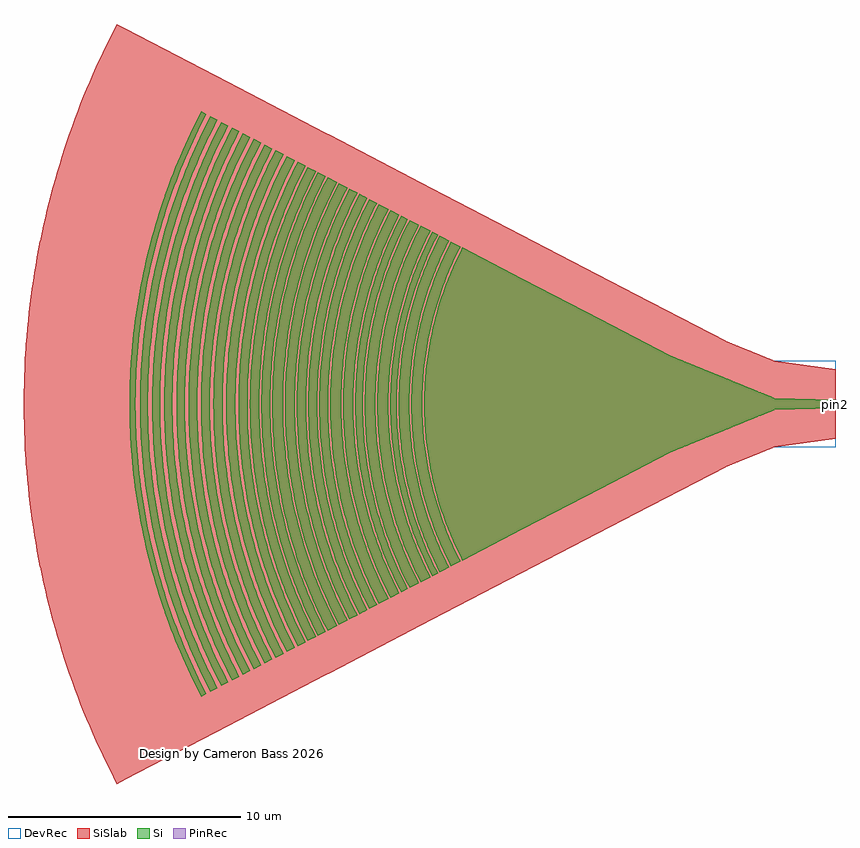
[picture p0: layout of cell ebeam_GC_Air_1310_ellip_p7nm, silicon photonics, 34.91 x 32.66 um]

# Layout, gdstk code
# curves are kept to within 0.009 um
import gdstk
lib = gdstk.Library(unit=1e-6, precision=1e-09)
def P(c, l, *ps):  # polygons
    for p in ps: c.add(gdstk.Polygon(p, *l))
Si = (1, 0)
PinRec = (1, 10)
SiSlab = (2, 0)
DevRec = (68, 0)

ebeam_gc_air_1310_ellip_ = lib.new_cell('ebeam_GC_Air_1310_ellip_p7nm')
P(ebeam_gc_air_1310_ellip_, Si, [(-16.051,-6.725),(-16.416,-5.972),(-16.791,-5.055),(-17.02,-4.386),(-17.285,-3.433),(-17.461,-2.602),(-17.588,-1.764),(-17.666,-0.918),(-17.694,-0.071),(-17.666,0.918),(-17.588,1.764),(-17.461,2.603),(-17.285,3.433),(-17.02,4.386),(-16.791,5.055),(-16.416,5.972),(-16.051,6.725),(-7.089,2.063),(-3.182,0.47),(-2.89,0.363),(-2.675,0.264),(0,0.175),(0,-0.175),(-2.675,-0.264),(-2.858,-0.35),(-3.197,-0.476),(-7.12,-2.076)],
  [(-16.543,-6.98),(-16.919,-6.202),(-17.257,-5.387),(-17.546,-4.555),(-17.786,-3.708),(-17.977,-2.847),(-18.117,-1.977),(-18.216,-0.954),(-18.246,-0.073),(-18.225,0.807),(-18.135,1.832),(-18.004,2.703),(-17.821,3.565),(-17.712,3.992),(-17.546,4.555),(-17.257,5.387),(-16.919,6.202),(-16.543,6.981),(-16.128,6.765),(-16.495,6.007),(-16.821,5.218),(-17.101,4.413),(-17.334,3.591),(-17.545,2.619),(-17.673,1.774),(-17.76,0.783),(-17.78,0.071),(-17.76,-0.783),(-17.673,-1.774),(-17.545,-2.618),(-17.368,-3.453),(-17.143,-4.277),(-16.871,-5.086),(-16.495,-6.007),(-16.128,-6.765)],
  [(-17.024,-7.231),(-17.413,-6.426),(-17.763,-5.582),(-18.062,-4.72),(-18.311,-3.842),(-18.508,-2.95),(-18.653,-2.049),(-18.746,-1.141),(-18.773,-0.684),(-18.787,-0.076),(-18.765,0.836),(-18.69,1.747),(-18.633,2.2),(-18.536,2.8),(-18.347,3.694),(-18.193,4.283),(-18.062,4.72),(-17.763,5.582),(-17.413,6.426),(-17.024,7.231),(-16.619,7.021),(-16.875,6.506),(-17.058,6.102),(-17.388,5.281),(-17.671,4.44),(-17.905,3.585),(-18.088,2.719),(-18.221,1.842),(-18.302,0.96),(-18.332,0.074),(-18.311,-0.812),(-18.221,-1.842),(-18.088,-2.719),(-17.905,-3.585),(-17.671,-4.44),(-17.388,-5.281),(-17.058,-6.102),(-16.875,-6.506),(-16.619,-7.021)],
  [(-17.344,-7.398),(-17.742,-6.574),(-18.1,-5.712),(-18.406,-4.829),(-18.661,-3.931),(-18.863,-3.018),(-18.944,-2.558),(-19.031,-1.942),(-19.117,-1.011),(-19.148,-0.078),(-19.126,0.856),(-19.031,1.942),(-18.891,2.865),(-18.698,3.78),(-18.452,4.68),(-18.155,5.565),(-17.742,6.575),(-17.344,7.398),(-17.101,7.271),(-17.554,6.321),(-17.788,5.756),(-17.948,5.327),(-18.097,4.892),(-18.275,4.306),(-18.394,3.863),(-18.532,3.267),(-18.696,2.363),(-18.792,1.604),(-18.851,0.842),(-18.873,0.077),(-18.858,-0.689),(-18.807,-1.451),(-18.696,-2.363),(-18.563,-3.117),(-18.466,-3.565),(-18.316,-4.158),(-18.189,-4.6),(-17.999,-5.182),(-17.787,-5.755),(-17.554,-6.321),(-17.101,-7.271)],
  [(-17.84,-7.656),(-18.316,-6.657),(-18.678,-5.76),(-18.986,-4.844),(-19.24,-3.912),(-19.44,-2.965),(-19.584,-2.01),(-19.673,-1.046),(-19.706,-0.08),(-19.682,0.886),(-19.603,1.85),(-19.468,2.807),(-19.347,3.44),(-19.24,3.912),(-18.986,4.844),(-18.678,5.76),(-18.251,6.805),(-17.84,7.656),(-17.421,7.438),(-17.885,6.467),(-18.179,5.742),(-18.488,4.855),(-18.744,3.952),(-18.976,2.881),(-19.116,1.952),(-19.18,1.329),(-19.212,0.861),(-19.234,0.078),(-19.212,-0.861),(-19.18,-1.329),(-19.116,-1.952),(-18.976,-2.881),(-18.781,-3.799),(-18.534,-4.706),(-18.234,-5.596),(-17.885,-6.467),(-17.421,-7.438)],
  [(-18.32,-7.906),(-18.745,-7.026),(-19.127,-6.104),(-19.298,-5.635),(-19.504,-5.002),(-19.766,-4.039),(-19.972,-3.062),(-20.122,-2.075),(-20.213,-1.081),(-20.247,-0.083),(-20.223,0.915),(-20.141,1.91),(-20.029,2.734),(-19.942,3.226),(-19.805,3.878),(-19.642,4.523),(-19.504,5.002),(-19.185,5.948),(-19.005,6.414),(-18.745,7.027),(-18.32,7.906),(-17.918,7.697),(-18.332,6.84),(-18.524,6.394),(-18.759,5.791),(-19.069,4.87),(-19.325,3.932),(-19.526,2.981),(-19.671,2.02),(-19.761,1.053),(-19.794,0.081),(-19.77,-0.891),(-19.69,-1.859),(-19.606,-2.502),(-19.526,-2.981),(-19.325,-3.931),(-19.069,-4.869),(-18.759,-5.791),(-18.524,-6.393),(-18.332,-6.84),(-17.918,-7.697)],
  [(-18.682,-8.094),(-19.117,-7.193),(-19.509,-6.248),(-19.844,-5.283),(-20.036,-4.63),(-20.163,-4.135),(-20.374,-3.135),(-20.527,-2.124),(-20.621,-1.106),(-20.655,-0.085),(-20.631,0.936),(-20.547,1.956),(-20.404,2.967),(-20.276,3.636),(-20.163,4.135),(-20.036,4.63),(-19.844,5.283),(-19.509,6.248),(-19.117,7.193),(-18.682,8.094),(-18.397,7.947),(-18.685,7.366),(-18.959,6.755),(-19.148,6.291),(-19.379,5.664),(-19.537,5.187),(-19.725,4.545),(-19.889,3.896),(-19.995,3.407),(-20.14,2.583),(-20.245,1.753),(-20.31,0.92),(-20.334,0.084),(-20.31,-0.92),(-20.245,-1.753),(-20.14,-2.583),(-19.995,-3.407),(-19.889,-3.896),(-19.725,-4.545),(-19.537,-5.187),(-19.379,-5.664),(-18.959,-6.755),(-18.685,-7.366),(-18.397,-7.946)],
  [(-19.14,-8.333),(-19.588,-7.406),(-19.863,-6.76),(-20.053,-6.269),(-20.388,-5.272),(-20.665,-4.257),(-20.882,-3.227),(-21.04,-2.187),(-21.136,-1.139),(-21.172,-0.088),(-21.162,0.614),(-21.136,1.139),(-21.04,2.187),(-20.882,3.227),(-20.665,4.257),(-20.388,5.272),(-20.053,6.269),(-19.659,7.246),(-19.442,7.724),(-19.14,8.333),(-18.76,8.135),(-19.198,7.229),(-19.466,6.598),(-19.649,6.12),(-19.977,5.146),(-20.248,4.155),(-20.46,3.151),(-20.614,2.135),(-20.708,1.113),(-20.743,0.086),(-20.718,-0.942),(-20.634,-1.965),(-20.49,-2.982),(-20.396,-3.487),(-20.248,-4.155),(-19.977,-5.146),(-19.649,-6.12),(-19.267,-7.072),(-19.055,-7.54),(-18.76,-8.135)],
  [(-19.639,-8.593),(-20.099,-7.639),(-20.515,-6.636),(-20.87,-5.611),(-21.166,-4.567),(-21.4,-3.507),(-21.573,-2.436),(-21.683,-1.356),(-21.714,-0.814),(-21.732,-0.09),(-21.706,0.994),(-21.616,2.077),(-21.465,3.151),(-21.329,3.861),(-21.209,4.392),(-20.924,5.438),(-20.7,6.126),(-20.515,6.636),(-20.099,7.639),(-19.639,8.593),(-19.218,8.374),(-19.521,7.762),(-19.74,7.28),(-20.072,6.464),(-20.252,5.968),(-20.471,5.298),(-20.707,4.448),(-20.935,3.417),(-21.104,2.373),(-21.182,1.672),(-21.223,1.145),(-21.259,0.088),(-21.254,-0.441),(-21.223,-1.145),(-21.126,-2.197),(-20.968,-3.243),(-20.749,-4.277),(-20.471,-5.297),(-20.252,-5.968),(-20.072,-6.464),(-19.74,-7.28),(-19.521,-7.761),(-19.218,-8.374)],
  [(-20.054,-8.809),(-20.527,-7.829),(-20.953,-6.801),(-21.318,-5.75),(-21.621,-4.68),(-21.861,-3.594),(-22.038,-2.496),(-22.151,-1.39),(-22.183,-0.834),(-22.201,-0.093),(-22.174,1.019),(-22.083,2.128),(-22.013,2.68),(-21.895,3.412),(-21.665,4.501),(-21.477,5.218),(-21.318,5.75),(-20.953,6.801),(-20.527,7.829),(-20.054,8.809),(-19.72,8.635),(-20.183,7.675),(-20.599,6.668),(-20.957,5.638),(-21.254,4.588),(-21.49,3.524),(-21.584,2.987),(-21.686,2.267),(-21.786,1.181),(-21.823,0.091),(-21.813,-0.636),(-21.744,-1.724),(-21.639,-2.627),(-21.455,-3.702),(-21.339,-4.234),(-21.162,-4.94),(-20.957,-5.637),(-20.725,-6.327),(-20.468,-7.005),(-20.257,-7.508),(-19.953,-8.169),(-19.72,-8.635)],
  [(-20.474,-9.028),(-20.96,-8.022),(-21.397,-6.968),(-21.77,-5.892),(-22.081,-4.796),(-22.212,-4.241),(-22.362,-3.496),(-22.532,-2.369),(-22.637,-1.234),(-22.676,-0.095),(-22.648,1.044),(-22.554,2.181),(-22.395,3.309),(-22.291,3.869),(-22.126,4.612),(-21.934,5.346),(-21.77,5.892),(-21.397,6.968),(-20.96,8.022),(-20.474,9.028),(-20.132,8.85),(-20.608,7.864),(-21.034,6.832),(-21.4,5.777),(-21.61,5.062),(-21.75,4.52),(-21.981,3.428),(-22.148,2.323),(-22.25,1.21),(-22.278,0.652),(-22.288,0.093),(-22.27,-0.838),(-22.207,-1.767),(-22.099,-2.692),(-21.911,-3.794),(-21.793,-4.339),(-21.61,-5.062),(-21.4,-5.777),(-21.225,-6.307),(-21.034,-6.831),(-20.757,-7.523),(-20.452,-8.203),(-20.132,-8.85)],
  [(-20.909,-9.254),(-21.408,-8.22),(-21.855,-7.142),(-22.238,-6.038),(-22.557,-4.915),(-22.691,-4.346),(-22.845,-3.582),(-23.02,-2.428),(-23.127,-1.264),(-23.166,-0.097),(-23.161,0.487),(-23.127,1.264),(-23.02,2.428),(-22.845,3.583),(-22.603,4.726),(-22.296,5.852),(-21.924,6.959),(-21.487,8.043),(-21.161,8.75),(-20.909,9.254),(-20.556,9.07),(-20.886,8.404),(-21.122,7.883),(-21.344,7.355),(-21.549,6.821),(-21.914,5.736),(-22.216,4.631),(-22.453,3.512),(-22.624,2.38),(-22.729,1.24),(-22.768,0.096),(-22.749,-0.859),(-22.685,-1.81),(-22.574,-2.758),(-22.381,-3.887),(-22.216,-4.631),(-22.073,-5.186),(-21.858,-5.918),(-21.678,-6.462),(-21.482,-6.999),(-21.198,-7.707),(-20.886,-8.404),(-20.556,-9.07)],
  [(-21.36,-9.489),(-21.705,-8.793),(-21.952,-8.247),(-22.4,-7.136),(-22.782,-6.001),(-23.097,-4.846),(-23.345,-3.674),(-23.524,-2.49),(-23.634,-1.296),(-23.674,-0.1),(-23.669,0.499),(-23.634,1.297),(-23.524,2.49),(-23.345,3.674),(-23.097,4.846),(-22.782,6.001),(-22.4,7.136),(-21.952,8.248),(-21.705,8.793),(-21.36,9.489),(-20.986,9.294),(-21.488,8.256),(-21.936,7.172),(-22.321,6.064),(-22.489,5.502),(-22.687,4.745),(-22.93,3.598),(-23.106,2.438),(-23.213,1.271),(-23.242,0.685),(-23.253,0.098),(-23.248,-0.489),(-23.225,-1.075),(-23.168,-1.855),(-23.106,-2.438),(-22.93,-3.598),(-22.687,-4.745),(-22.489,-5.502),(-22.321,-6.064),(-21.936,-7.171),(-21.488,-8.256),(-20.986,-9.294)],
  [(-21.848,-9.742),(-22.287,-8.844),(-22.769,-7.713),(-23.052,-6.943),(-23.246,-6.359),(-23.581,-5.176),(-23.766,-4.376),(-23.884,-3.773),(-23.985,-3.166),(-24.068,-2.557),(-24.181,-1.331),(-24.211,-0.717),(-24.222,-0.102),(-24.193,1.127),(-24.092,2.354),(-23.985,3.166),(-23.884,3.773),(-23.766,4.376),(-23.63,4.977),(-23.477,5.573),(-23.306,6.163),(-23.119,6.749),(-22.914,7.329),(-22.615,8.093),(-22.371,8.658),(-21.848,9.743),(-21.437,9.529),(-21.784,8.83),(-22.032,8.282),(-22.481,7.167),(-22.805,6.218),(-23.133,5.061),(-23.272,4.475),(-23.393,3.887),(-23.585,2.699),(-23.707,1.502),(-23.742,0.902),(-23.761,0.1),(-23.732,-1.103),(-23.674,-1.902),(-23.61,-2.5),(-23.43,-3.69),(-23.181,-4.866),(-22.864,-6.027),(-22.481,-7.167),(-22.032,-8.282),(-21.784,-8.83),(-21.437,-9.529)],
  [(-22.262,-9.958),(-22.797,-8.848),(-23.279,-7.686),(-23.493,-7.096),(-23.753,-6.299),(-24.084,-5.087),(-24.343,-3.856),(-24.446,-3.236),(-24.531,-2.613),(-24.598,-1.988),(-24.647,-1.361),(-24.689,-0.105),(-24.683,0.524),(-24.659,1.152),(-24.556,2.405),(-24.477,3.029),(-24.38,3.65),(-24.265,4.268),(-24.084,5.087),(-23.753,6.299),(-23.561,6.898),(-23.279,7.686),(-23.046,8.272),(-22.797,8.849),(-22.262,9.958),(-21.925,9.783),(-22.279,9.067),(-22.534,8.505),(-22.773,7.935),(-23.065,7.166),(-23.265,6.582),(-23.504,5.794),(-23.664,5.197),(-23.85,4.395),(-23.969,3.789),(-24.07,3.179),(-24.199,2.158),(-24.279,1.132),(-24.309,0.103),(-24.303,-0.515),(-24.279,-1.132),(-24.199,-2.158),(-24.07,-3.179),(-23.969,-3.789),(-23.85,-4.395),(-23.664,-5.197),(-23.504,-5.793),(-23.265,-6.581),(-23.065,-7.166),(-22.773,-7.935),(-22.534,-8.504),(-22.279,-9.067),(-21.925,-9.783)],
  [(-22.696,-10.184),(-22.974,-9.63),(-23.245,-9.047),(-23.5,-8.457),(-23.738,-7.859),(-23.957,-7.255),(-24.159,-6.645),(-24.401,-5.823),(-24.561,-5.201),(-24.703,-4.573),(-24.826,-3.943),(-24.932,-3.309),(-25.019,-2.672),(-25.087,-2.033),(-25.137,-1.391),(-25.168,-0.75),(-25.18,-0.107),(-25.174,0.536),(-25.149,1.178),(-25.106,1.82),(-25.044,2.459),(-24.963,3.097),(-24.864,3.732),(-24.703,4.573),(-24.561,5.201),(-24.401,5.823),(-24.222,6.441),(-24.026,7.053),(-23.813,7.659),(-23.581,8.259),(-23.332,8.852),(-22.974,9.63),(-22.696,10.184),(-22.342,10),(-22.705,9.267),(-22.966,8.692),(-23.21,8.11),(-23.508,7.324),(-23.777,6.526),(-23.957,5.921),(-24.121,5.311),(-24.311,4.492),(-24.503,3.458),(-24.646,2.415),(-24.737,1.367),(-24.768,0.737),(-24.78,0.105),(-24.76,-0.947),(-24.723,-1.577),(-24.668,-2.205),(-24.536,-3.249),(-24.353,-4.286),(-24.22,-4.902),(-24.014,-5.718),(-23.777,-6.526),(-23.508,-7.324),(-23.287,-7.914),(-22.966,-8.692),(-22.705,-9.267),(-22.342,-10)],
  [(-23.128,-10.409),(-23.415,-9.837),(-23.692,-9.242),(-24.196,-8.028),(-24.42,-7.411),(-24.627,-6.788),(-24.815,-6.159),(-24.985,-5.525),(-25.136,-4.887),(-25.269,-4.243),(-25.383,-3.596),(-25.478,-2.947),(-25.554,-2.295),(-25.626,-1.421),(-25.658,-0.766),(-25.67,-0.109),(-25.664,0.547),(-25.639,1.203),(-25.594,1.859),(-25.531,2.512),(-25.448,3.164),(-25.309,4.028),(-25.182,4.672),(-25.037,5.313),(-24.873,5.949),(-24.691,6.579),(-24.491,7.205),(-24.273,7.824),(-23.781,9.042),(-23.51,9.64),(-23.128,10.409),(-22.79,10.234),(-23.163,9.479),(-23.516,8.694),(-23.76,8.096),(-23.985,7.492),(-24.26,6.676),(-24.445,6.057),(-24.664,5.224),(-24.807,4.595),(-25.004,3.537),(-25.097,2.898),(-25.172,2.256),(-25.255,1.184),(-25.287,0.108),(-25.266,-0.969),(-25.228,-1.613),(-25.172,-2.256),(-25.004,-3.537),(-24.807,-4.595),(-24.664,-5.224),(-24.445,-6.057),(-24.26,-6.676),(-23.985,-7.492),(-23.76,-8.096),(-23.43,-8.891),(-23.163,-9.479),(-22.79,-10.233)],
  [(-23.597,-10.654),(-23.894,-10.062),(-24.178,-9.454),(-24.444,-8.837),(-24.693,-8.213),(-24.923,-7.581),(-25.134,-6.944),(-25.327,-6.3),(-25.501,-5.652),(-25.656,-4.998),(-25.791,-4.34),(-25.943,-3.457),(-26.034,-2.792),(-26.105,-2.124),(-26.157,-1.454),(-26.19,-0.783),(-26.203,-0.112),(-26.196,0.56),(-26.17,1.231),(-26.125,1.902),(-26.06,2.57),(-25.975,3.236),(-25.871,3.9),(-25.703,4.779),(-25.554,5.435),(-25.387,6.085),(-25.2,6.73),(-24.995,7.37),(-24.772,8.003),(-24.529,8.63),(-24.269,9.249),(-23.991,9.861),(-23.597,10.654),(-23.248,10.472),(-23.538,9.894),(-23.906,9.094),(-24.162,8.485),(-24.474,7.663),(-24.688,7.038),(-24.945,6.195),(-25.169,5.343),(-25.315,4.7),(-25.517,3.617),(-25.666,2.526),(-25.729,1.869),(-25.774,1.211),(-25.806,0.11),(-25.785,-0.991),(-25.747,-1.649),(-25.689,-2.307),(-25.551,-3.4),(-25.442,-4.051),(-25.315,-4.7),(-25.169,-5.343),(-24.945,-6.195),(-24.688,-7.037),(-24.474,-7.662),(-24.162,-8.485),(-23.906,-9.094),(-23.538,-9.894),(-23.248,-10.472)],
  [(-24.08,-10.905),(-24.387,-10.294),(-24.677,-9.671),(-24.95,-9.04),(-25.205,-8.401),(-25.44,-7.756),(-25.724,-6.885),(-25.915,-6.225),(-26.086,-5.56),(-26.238,-4.889),(-26.371,-4.215),(-26.484,-3.537),(-26.577,-2.856),(-26.65,-2.173),(-26.703,-1.487),(-26.737,-0.801),(-26.75,-0.114),(-26.743,0.573),(-26.717,1.259),(-26.67,1.945),(-26.577,2.857),(-26.484,3.537),(-26.371,4.215),(-26.238,4.889),(-26.086,5.56),(-25.915,6.225),(-25.724,6.885),(-25.44,7.756),(-25.205,8.401),(-24.95,9.041),(-24.677,9.671),(-24.387,10.294),(-24.08,10.905),(-23.736,10.726),(-24.133,9.925),(-24.413,9.309),(-24.759,8.476),(-24.995,7.844),(-25.283,6.989),(-25.477,6.341),(-25.707,5.469),(-25.856,4.811),(-26.063,3.703),(-26.216,2.586),(-26.314,1.464),(-26.347,0.789),(-26.36,0.113),(-26.338,-1.014),(-26.298,-1.689),(-26.24,-2.362),(-26.098,-3.48),(-25.902,-4.59),(-25.759,-5.25),(-25.538,-6.124),(-25.283,-6.989),(-24.995,-7.844),(-24.759,-8.476),(-24.413,-9.309),(-24.036,-10.128),(-23.736,-10.726)],
  [(-24.55,-11.15),(-24.866,-10.522),(-25.163,-9.885),(-25.442,-9.24),(-25.702,-8.588),(-25.943,-7.927),(-26.164,-7.261),(-26.428,-6.363),(-26.604,-5.683),(-26.759,-4.997),(-26.895,-4.308),(-27.01,-3.615),(-27.105,-2.92),(-27.18,-2.221),(-27.235,-1.52),(-27.269,-0.819),(-27.282,-0.117),(-27.269,0.819),(-27.235,1.521),(-27.18,2.222),(-27.105,2.92),(-27.01,3.615),(-26.895,4.308),(-26.759,4.997),(-26.604,5.683),(-26.428,6.363),(-26.164,7.261),(-25.943,7.927),(-25.702,8.587),(-25.442,9.241),(-25.163,9.885),(-24.866,10.522),(-24.55,11.15),(-24.217,10.977),(-24.627,10.152),(-24.914,9.522),(-25.182,8.884),(-25.509,8.023),(-25.804,7.149),(-26.002,6.487),(-26.182,5.818),(-26.39,4.921),(-26.602,3.788),(-26.758,2.645),(-26.859,1.498),(-26.892,0.807),(-26.905,0.115),(-26.899,-0.576),(-26.872,-1.268),(-26.782,-2.416),(-26.702,-3.103),(-26.602,-3.788),(-26.39,-4.921),(-26.182,-5.818),(-26.002,-6.486),(-25.804,-7.149),(-25.509,-8.023),(-25.182,-8.884),(-24.914,-9.522),(-24.627,-10.152),(-24.217,-10.977)],
  [(-25.023,-11.396),(-25.347,-10.752),(-25.651,-10.102),(-25.935,-9.443),(-26.202,-8.776),(-26.447,-8.101),(-26.673,-7.42),(-26.88,-6.732),(-27.066,-6.039),(-27.231,-5.341),(-27.377,-4.637),(-27.501,-3.931),(-27.606,-3.221),(-27.689,-2.508),(-27.752,-1.793),(-27.803,-0.837),(-27.817,-0.12),(-27.81,0.598),(-27.782,1.315),(-27.733,2.032),(-27.664,2.746),(-27.573,3.458),(-27.421,4.402),(-27.282,5.107),(-27.123,5.807),(-26.944,6.502),(-26.744,7.192),(-26.525,7.875),(-26.202,8.776),(-25.935,9.443),(-25.651,10.102),(-25.347,10.752),(-25.023,11.396),(-24.697,11.227),(-25.016,10.593),(-25.411,9.736),(-25.685,9.084),(-26.02,8.204),(-26.249,7.535),(-26.524,6.633),(-26.708,5.949),(-26.921,5.032),(-27.137,3.873),(-27.297,2.705),(-27.366,2.001),(-27.414,1.296),(-27.448,0.118),(-27.441,-0.589),(-27.414,-1.296),(-27.322,-2.47),(-27.174,-3.64),(-27.058,-4.338),(-26.921,-5.032),(-26.708,-5.949),(-26.524,-6.632),(-26.249,-7.535),(-26.02,-8.204),(-25.684,-9.084),(-25.411,-9.736),(-25.016,-10.593),(-24.697,-11.226)],
  [(-25.485,-11.636),(-25.816,-10.978),(-26.126,-10.314),(-26.416,-9.641),(-26.688,-8.96),(-26.939,-8.271),(-27.17,-7.576),(-27.381,-6.874),(-27.571,-6.166),(-27.792,-5.214),(-27.933,-4.495),(-28.054,-3.772),(-28.153,-3.046),(-28.231,-2.318),(-28.288,-1.586),(-28.323,-0.855),(-28.338,-0.122),(-28.323,0.855),(-28.288,1.586),(-28.231,2.318),(-28.153,3.046),(-28.054,3.772),(-27.933,4.495),(-27.792,5.214),(-27.629,5.929),(-27.446,6.639),(-27.243,7.342),(-27.019,8.04),(-26.688,8.96),(-26.416,9.641),(-26.126,10.314),(-25.816,10.978),(-25.485,11.636),(-25.171,11.473),(-25.602,10.607),(-25.901,9.949),(-26.27,9.06),(-26.524,8.383),(-26.832,7.47),(-27.039,6.778),(-27.285,5.846),(-27.445,5.142),(-27.666,3.958),(-27.771,3.242),(-27.855,2.525),(-27.948,1.325),(-27.983,0.121),(-27.96,-1.084),(-27.918,-1.804),(-27.855,-2.524),(-27.771,-3.242),(-27.666,-3.957),(-27.445,-5.141),(-27.227,-6.079),(-27.039,-6.777),(-26.832,-7.47),(-26.524,-8.383),(-26.27,-9.06),(-25.901,-9.949),(-25.602,-10.607),(-25.171,-11.473)],
  [(-25.95,-11.878),(-26.288,-11.206),(-26.605,-10.528),(-26.901,-9.842),(-27.179,-9.146),(-27.435,-8.443),(-27.671,-7.733),(-27.886,-7.017),(-28.08,-6.294),(-28.252,-5.567),(-28.45,-4.588),(-28.572,-3.85),(-28.674,-3.109),(-28.754,-2.366),(-28.812,-1.619),(-28.848,-0.872),(-28.862,-0.125),(-28.848,0.872),(-28.812,1.619),(-28.754,2.366),(-28.674,3.11),(-28.572,3.851),(-28.45,4.588),(-28.305,5.322),(-28.139,6.052),(-27.953,6.777),(-27.745,7.495),(-27.516,8.207),(-27.267,8.912),(-26.996,9.611),(-26.605,10.528),(-26.288,11.206),(-25.95,11.879),(-25.641,11.718),(-25.975,11.055),(-26.387,10.161),(-26.673,9.48),(-27.023,8.561),(-27.262,7.863),(-27.55,6.922),(-27.741,6.209),(-27.964,5.25),(-28.189,4.042),(-28.356,2.823),(-28.428,2.088),(-28.478,1.353),(-28.514,0.123),(-28.506,-0.615),(-28.478,-1.353),(-28.382,-2.578),(-28.296,-3.311),(-28.189,-4.041),(-27.964,-5.25),(-27.8,-5.97),(-27.55,-6.921),(-27.262,-7.863),(-27.023,-8.561),(-26.672,-9.48),(-26.387,-10.16),(-25.975,-11.054),(-25.641,-11.718)],
  [(-26.409,-12.117),(-26.754,-11.431),(-27.077,-10.74),(-27.379,-10.039),(-27.662,-9.33),(-27.924,-8.612),(-28.164,-7.888),(-28.383,-7.157),(-28.581,-6.421),(-28.757,-5.678),(-28.959,-4.68),(-29.084,-3.928),(-29.187,-3.172),(-29.269,-2.413),(-29.328,-1.652),(-29.365,-0.89),(-29.38,-0.127),(-29.372,0.636),(-29.343,1.398),(-29.291,2.16),(-29.217,2.92),(-29.121,3.676),(-28.959,4.68),(-28.811,5.429),(-28.642,6.174),(-28.452,6.913),(-28.24,7.646),(-28.006,8.372),(-27.752,9.091),(-27.476,9.804),(-27.077,10.74),(-26.754,11.431),(-26.409,12.117),(-26.11,11.962),(-26.451,11.285),(-26.77,10.602),(-27.069,9.91),(-27.435,8.976),(-27.686,8.265),(-27.989,7.307),(-28.254,6.338),(-28.428,5.605),(-28.581,4.868),(-28.712,4.126),(-28.882,2.882),(-28.992,1.632),(-29.028,0.879),(-29.043,0.126),(-29.035,-0.628),(-29.006,-1.381),(-28.909,-2.632),(-28.821,-3.38),(-28.712,-4.126),(-28.481,-5.36),(-28.254,-6.338),(-28.059,-7.065),(-27.842,-7.787),(-27.521,-8.739),(-27.256,-9.444),(-26.872,-10.372),(-26.56,-11.058),(-26.11,-11.962)],
  [(-26.879,-12.362),(-27.223,-11.676),(-27.553,-10.97),(-27.862,-10.255),(-28.242,-9.286),(-28.501,-8.552),(-28.739,-7.81),(-28.955,-7.061),(-29.15,-6.306),(-29.322,-5.545),(-29.472,-4.781),(-29.6,-4.012),(-29.706,-3.24),(-29.788,-2.465),(-29.849,-1.687),(-29.887,-0.909),(-29.902,-0.13),(-29.887,0.909),(-29.849,1.687),(-29.788,2.465),(-29.706,3.24),(-29.6,4.012),(-29.472,4.781),(-29.322,5.546),(-29.15,6.306),(-28.955,7.061),(-28.739,7.81),(-28.501,8.552),(-28.242,9.287),(-27.961,10.014),(-27.553,10.97),(-27.223,11.677),(-26.879,12.363),(-26.577,12.206),(-27.036,11.283),(-27.355,10.583),(-27.653,9.874),(-28.017,8.917),(-28.345,7.946),(-28.565,7.209),(-28.765,6.467),(-28.997,5.469),(-29.232,4.21),(-29.406,2.94),(-29.48,2.175),(-29.532,1.409),(-29.57,0.128),(-29.545,-1.153),(-29.5,-1.919),(-29.433,-2.685),(-29.272,-3.956),(-29.145,-4.715),(-28.997,-5.468),(-28.765,-6.466),(-28.565,-7.209),(-28.345,-7.946),(-28.017,-8.917),(-27.747,-9.636),(-27.355,-10.583),(-27.036,-11.283),(-26.577,-12.205)],
  [(-27.277,-12.57),(-27.635,-11.856),(-27.97,-11.139),(-28.283,-10.413),(-28.576,-9.677),(-28.833,-8.974),(-29.096,-8.182),(-29.323,-7.424),(-29.528,-6.66),(-29.71,-5.89),(-29.87,-5.114),(-30.008,-4.334),(-30.123,-3.552),(-30.24,-2.503),(-30.296,-1.794),(-30.34,-0.923),(-30.355,-0.132),(-30.347,0.659),(-30.317,1.45),(-30.263,2.241),(-30.156,3.29),(-30.049,4.074),(-29.919,4.855),(-29.766,5.631),(-29.591,6.404),(-29.394,7.17),(-29.174,7.93),(-28.933,8.684),(-28.669,9.43),(-28.383,10.169),(-27.97,11.14),(-27.635,11.857),(-27.277,12.57),(-27.056,12.455),(-27.516,11.527),(-27.841,10.812),(-28.145,10.088),(-28.517,9.11),(-28.851,8.118),(-29.077,7.365),(-29.28,6.607),(-29.461,5.843),(-29.62,5.074),(-29.756,4.301),(-29.933,3.004),(-30.048,1.701),(-30.086,0.916),(-30.101,0.131),(-30.076,-1.178),(-30.03,-1.962),(-29.961,-2.743),(-29.87,-3.523),(-29.756,-4.301),(-29.62,-5.074),(-29.461,-5.842),(-29.28,-6.607),(-29.077,-7.365),(-28.851,-8.118),(-28.517,-9.11),(-28.241,-9.845),(-27.841,-10.812),(-27.516,-11.527),(-27.056,-12.455)])
P(ebeam_gc_air_1310_ellip_, SiSlab, [(-30.904,-16.329),(-31.366,-15.41),(-31.801,-14.477),(-32.208,-13.533),(-32.588,-12.577),(-32.94,-11.61),(-33.264,-10.634),(-33.559,-9.648),(-33.825,-8.655),(-34.062,-7.654),(-34.27,-6.647),(-34.449,-5.634),(-34.598,-4.616),(-34.717,-3.594),(-34.807,-2.569),(-34.867,-1.543),(-34.9,-0.171),(-34.89,0.857),(-34.85,1.885),(-34.781,2.912),(-34.681,3.935),(-34.552,4.956),(-34.393,5.972),(-34.135,7.319),(-33.907,8.322),(-33.651,9.318),(-33.365,10.307),(-33.051,11.286),(-32.709,12.256),(-32.338,13.216),(-31.94,14.164),(-31.366,15.41),(-30.904,16.329),(-4.744,2.708),(-2.65,1.855),(0,1.5),(0,-1.5),(-2.65,-1.855),(-4.728,-2.7)])
P(ebeam_gc_air_1310_ellip_, DevRec, [(-30.904,-16.329),(-31.366,-15.41),(-31.801,-14.477),(-32.208,-13.533),(-32.588,-12.577),(-32.94,-11.61),(-33.264,-10.634),(-33.559,-9.648),(-33.825,-8.655),(-34.062,-7.654),(-34.27,-6.647),(-34.449,-5.634),(-34.598,-4.616),(-34.717,-3.594),(-34.807,-2.569),(-34.867,-1.543),(-34.9,-0.171),(-34.89,0.857),(-34.85,1.885),(-34.781,2.912),(-34.681,3.935),(-34.552,4.956),(-34.393,5.972),(-34.135,7.319),(-33.907,8.322),(-33.651,9.318),(-33.365,10.307),(-33.051,11.286),(-32.709,12.256),(-32.338,13.216),(-31.94,14.164),(-31.366,15.41),(-30.904,16.329),(-4.744,2.708),(-2.65,1.855),(0,1.855),(0,-1.855),(-2.65,-1.855),(-4.728,-2.7)])
ebeam_gc_air_1310_ellip_.add(gdstk.FlexPath([(-0.01,0),(0.01,0)], 0.35, ends="flush", simple_path=True, layer=1, datatype=10))  # PinRec
ebeam_gc_air_1310_ellip_.add(gdstk.Label('pin2', (0,0), layer=1, texttype=10))
ebeam_gc_air_1310_ellip_.add(gdstk.Label('Design by Cameron Bass 2026', (-25.94,-15.02), layer=10, texttype=0))

lib.write_gds('ebeam_GC_Air_1310_ellip_p7nm.gds')
